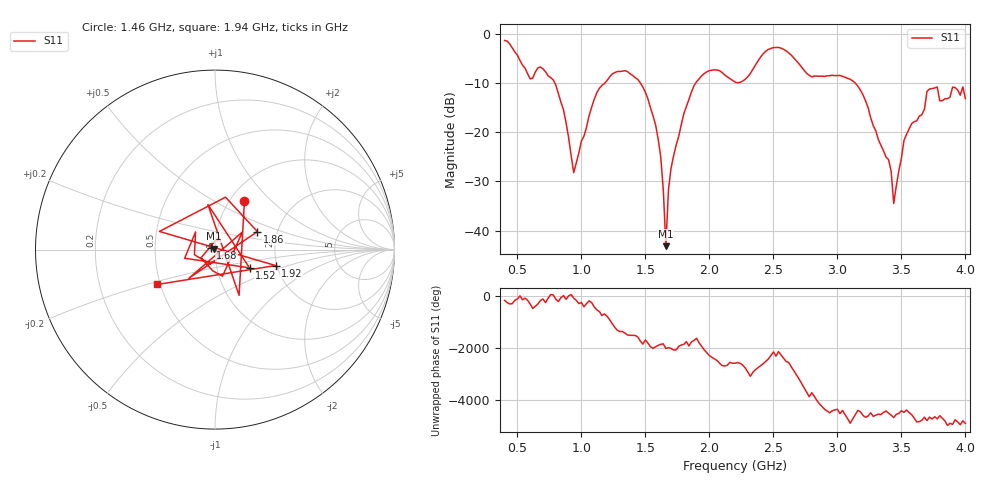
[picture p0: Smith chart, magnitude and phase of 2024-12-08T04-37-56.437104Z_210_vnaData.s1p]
!Created with skrf (http://scikit-rf.org).
# Hz S RI R 50.0
!freq ReS11 ImS11
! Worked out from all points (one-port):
!   181 points, 400 MHz to 4 GHz, reference 50 ohm
!   lowest |S11| = -43.1 dB at 1.66 GHz (marker M1), VSWR 1.01, Z = 49.6 + j0.546 ohm
!   |S11| at or under -10 dB: 792.2 MHz to 1.183 GHz (390.9 MHz wide, 39.6 % of centre); 1.461 GHz to 1.893 GHz (432.6 MHz wide, 25.8 % of centre); 3.139 GHz to end of sweep
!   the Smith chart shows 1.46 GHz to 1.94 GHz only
!   S11 on the Smith chart (normalised r, x): 1.46 GHz: 1.16, +0.70; 1.52 GHz: 1.44, -0.31; 1.68 GHz: 0.95, +0.01; 1.86 GHz: 1.57, +0.34; 1.92 GHz: 1.97, -0.40; 1.94 GHz: 0.48, -0.22
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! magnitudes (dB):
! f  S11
! 400 MHz  -1.4
! 600 MHz  -9.2
! 680 MHz  -6.7
! 780 MHz  -9.4
! 860 MHz  -15.4
! 940 MHz  -28.2
! 1.12 GHz  -12.0
! 1.3 GHz  -7.7
! 1.46 GHz  -10.0
! 1.52 GHz  -13.2
! 1.62 GHz  -25.1
! 1.66 GHz  -43.1
! 1.68 GHz  -31.7
! 1.76 GHz  -20.9
! 1.86 GHz  -11.8
! 1.92 GHz  -9.1
! 1.94 GHz  -8.5
! 2.2 GHz  -9.8
! 2.48 GHz  -3.0
! 2.66 GHz  -4.9
! 2.8 GHz  -8.8
! 3.1 GHz  -9.3
! 3.4 GHz  -25.6
! 3.44 GHz  -34.5
! 3.52 GHz  -21.7
! 3.56 GHz  -19.4
! 3.72 GHz  -11.2
! 4 GHz  -13.2
